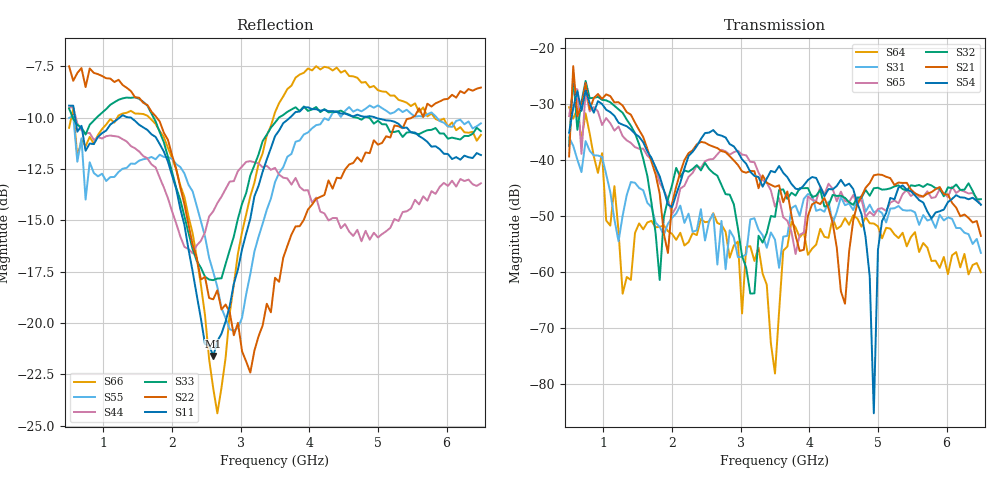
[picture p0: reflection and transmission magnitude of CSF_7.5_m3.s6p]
!Keysight Technologies,M9804A,MY58100912,A.14.10.03
!Date: Thursday, April 27, 2023 10:28:33
!Correction: S11(C  6-Port  )
!S12(C  6-Port  )
!S13(C  6-Port  )
!S14(C  6-Port  )
!S15(C  6-Port  )
!S16(C  6-Port  )
!S21(C  6-Port  )
!S22(C  6-Port  )
!S23(C  6-Port  )
!S24(C  6-Port  )
!S25(C  6-Port  )
!S26(C  6-Port  )
!S31(C  6-Port  )
!S32(C  6-Port  )
!S33(C  6-Port  )
!S34(C  6-Port  )
!S35(C  6-Port  )
!S36(C  6-Port  )
!S41(C  6-Port  )
!S42(C  6-Port  )
!S43(C  6-Port  )
!S44(C  6-Port  )
!S45(C  6-Port  )
!S46(C  6-Port  )
!S51(C  6-Port  )
!S52(C  6-Port  )
!S53(C  6-Port  )
!S54(C  6-Port  )
!S55(C  6-Port  )
!S56(C  6-Port  )
!S61(C  6-Port  )
!S62(C  6-Port  )
!S63(C  6-Port  )
!S64(C  6-Port  )
!S65(C  6-Port  )
!S66(C  6-Port  )
!S6P File: Measurement: :
# Hz S  RI  R 50
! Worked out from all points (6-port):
!   101 points, 500 MHz to 6.5 GHz, reference 50 ohm
!   strongest paths, dB at 500 MHz, 2 GHz, 3.5 GHz, 5 GHz, 6.5 GHz:
!     S54: -35.2, -48.5, -42.2, -56.1, -48.0
!     S21: -39.4, -47.8, -44.8, -42.6, -53.6
!     S32: -37.5, -44.6, -50.2, -45.0, -47.0
!     S65: -32.2, -49.7, -48.4, -48.8, -48.1
!     S31: -36.0, -50.4, -54.3, -49.0, -56.6
!     S64: -30.6, -53.2, -78.2, -51.9, -60.1
!   lowest |S11| = -21.6 dB at 2.6 GHz (marker M1), VSWR 1.18, Z = 42.6 + j2.08 ohm
!   |S11| at or under -10 dB: 587.8 MHz to 1.233 GHz (645.7 MHz wide, 70.9 % of centre); 1.403 GHz to 3.716 GHz (2.313 GHz wide, 90.4 % of centre); 4.969 GHz to end of sweep
